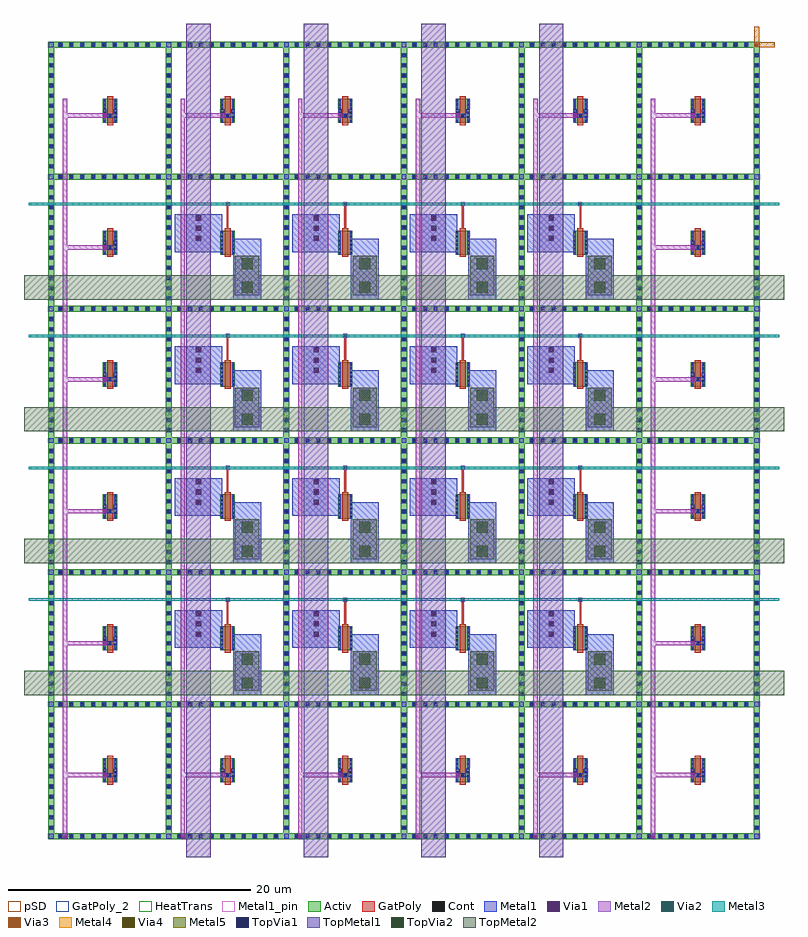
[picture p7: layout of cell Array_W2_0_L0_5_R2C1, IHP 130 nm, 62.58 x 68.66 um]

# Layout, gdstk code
import gdstk
lib = gdstk.Library(unit=1e-6, precision=1e-09)
def R(c, l, rs):  # rectangles x0, y0, x1, y1
    for r in rs: c.add(gdstk.rectangle(r[:2], r[2:], *l))
def A(c, l, x, y, w, h, nx, ny, dx, dy):  # array of equal rectangles
    R(c, l, [(x+i*dx, y+j*dy, x+i*dx+w, y+j*dy+h) for i in range(nx) for j in range(ny)])
Activ = (1, 0)
GatPoly = (5, 0)
GatPoly_2 = (5, 2)
Cont = (6, 0)
Metal1 = (8, 0)
Metal1_pin = (8, 2)
Metal2 = (10, 0)
pSD = (14, 0)
Via1 = (19, 0)
Via2 = (29, 0)
Metal3 = (30, 0)
Via3 = (49, 0)
Metal4 = (50, 0)
HeatTrans = (51, 0)
Via4 = (66, 0)
Metal5 = (67, 0)
TopVia1 = (125, 0)
TopMetal1 = (126, 0)
TopVia2 = (133, 0)
TopMetal2 = (134, 0)

array_w2_0_l0_5_r2c1 = lib.new_cell('Array_W2_0_L0_5_R2C1')
A(array_w2_0_l0_5_r2c1, Activ, 0, 0, 0.5, 65.66, 7, 1, 9.68, 0)
A(array_w2_0_l0_5_r2c1, Activ, 0, 0, 58.58, 0.5, 1, 7, 0, 10.86)
A(array_w2_0_l0_5_r2c1, Activ, 4.5, 4.68, 0.3, 0.3, 1, 6, 0, 10.86)
A(array_w2_0_l0_5_r2c1, Activ, 4.5, 4.68, 1.18, 2, 6, 6, 9.68, 10.86)
A(array_w2_0_l0_5_r2c1, Activ, 5.38, 4.68, 0.3, 0.3, 1, 6, 0, 10.86)
A(array_w2_0_l0_5_r2c1, Activ, 14.18, 4.68, 0.3, 0.3, 1, 6, 0, 10.86)
A(array_w2_0_l0_5_r2c1, Activ, 15.06, 4.68, 0.3, 0.3, 1, 6, 0, 10.86)
A(array_w2_0_l0_5_r2c1, Activ, 23.86, 4.68, 0.3, 0.3, 1, 6, 0, 10.86)
A(array_w2_0_l0_5_r2c1, Activ, 24.74, 4.68, 0.3, 0.3, 1, 6, 0, 10.86)
A(array_w2_0_l0_5_r2c1, Activ, 33.54, 4.68, 0.3, 0.3, 1, 6, 0, 10.86)
A(array_w2_0_l0_5_r2c1, Activ, 34.42, 4.68, 0.3, 0.3, 1, 6, 0, 10.86)
A(array_w2_0_l0_5_r2c1, Activ, 43.22, 4.68, 0.3, 0.3, 1, 6, 0, 10.86)
A(array_w2_0_l0_5_r2c1, Activ, 44.1, 4.68, 0.3, 0.3, 1, 6, 0, 10.86)
A(array_w2_0_l0_5_r2c1, Activ, 52.9, 4.68, 0.3, 0.3, 1, 6, 0, 10.86)
A(array_w2_0_l0_5_r2c1, Activ, 53.78, 4.68, 0.3, 0.3, 1, 6, 0, 10.86)
A(array_w2_0_l0_5_r2c1, GatPoly, 4.84, 4.5, 0.5, 2.36, 6, 6, 9.68, 10.86)
A(array_w2_0_l0_5_r2c1, GatPoly, 5.025, 5.28, 0.13, 0.2, 6, 2, 9.68, 54.3)
A(array_w2_0_l0_5_r2c1, GatPoly, 5.025, 16.14, 0.13, 0.2, 1, 4, 0, 10.86)
A(array_w2_0_l0_5_r2c1, GatPoly, 53.425, 16.14, 0.13, 0.2, 1, 4, 0, 10.86)
A(array_w2_0_l0_5_r2c1, GatPoly, 14.705, 17.72, 0.13, 2, 4, 4, 9.68, 10.86)
A(array_w2_0_l0_5_r2c1, GatPoly_2, 4.84, 4.5, 0.5, 2.36, 6, 6, 9.68, 10.86)
A(array_w2_0_l0_5_r2c1, Cont, 0.896, 0.14, 0.22, 0.22, 10, 7, 0.896, 10.86)
A(array_w2_0_l0_5_r2c1, Cont, 10.68, 0.14, 0.22, 0.22, 3, 7, 0.884, 10.86)
A(array_w2_0_l0_5_r2c1, Cont, 13.333, 0.14, 0.22, 0.22, 1, 7, 0, 10.86)
A(array_w2_0_l0_5_r2c1, Cont, 14.217, 0.14, 0.22, 0.22, 1, 7, 0, 10.86)
A(array_w2_0_l0_5_r2c1, Cont, 15.102, 0.14, 0.22, 0.22, 1, 7, 0, 10.86)
A(array_w2_0_l0_5_r2c1, Cont, 15.986, 0.14, 0.22, 0.22, 1, 7, 0, 10.86)
A(array_w2_0_l0_5_r2c1, Cont, 16.871, 0.14, 0.22, 0.22, 1, 7, 0, 10.86)
A(array_w2_0_l0_5_r2c1, Cont, 17.755, 0.14, 0.22, 0.22, 1, 7, 0, 10.86)
A(array_w2_0_l0_5_r2c1, Cont, 18.64, 0.14, 0.22, 0.22, 1, 7, 0, 10.86)
A(array_w2_0_l0_5_r2c1, Cont, 20.36, 0.14, 0.22, 0.22, 3, 7, 0.884, 10.86)
A(array_w2_0_l0_5_r2c1, Cont, 23.013, 0.14, 0.22, 0.22, 1, 7, 0, 10.86)
A(array_w2_0_l0_5_r2c1, Cont, 23.897, 0.14, 0.22, 0.22, 1, 7, 0, 10.86)
A(array_w2_0_l0_5_r2c1, Cont, 24.782, 0.14, 0.22, 0.22, 1, 7, 0, 10.86)
A(array_w2_0_l0_5_r2c1, Cont, 25.666, 0.14, 0.22, 0.22, 1, 7, 0, 10.86)
A(array_w2_0_l0_5_r2c1, Cont, 26.551, 0.14, 0.22, 0.22, 1, 7, 0, 10.86)
A(array_w2_0_l0_5_r2c1, Cont, 27.435, 0.14, 0.22, 0.22, 1, 7, 0, 10.86)
A(array_w2_0_l0_5_r2c1, Cont, 28.32, 0.14, 0.22, 0.22, 1, 7, 0, 10.86)
A(array_w2_0_l0_5_r2c1, Cont, 30.04, 0.14, 0.22, 0.22, 3, 7, 0.884, 10.86)
A(array_w2_0_l0_5_r2c1, Cont, 32.693, 0.14, 0.22, 0.22, 1, 7, 0, 10.86)
A(array_w2_0_l0_5_r2c1, Cont, 33.577, 0.14, 0.22, 0.22, 1, 7, 0, 10.86)
A(array_w2_0_l0_5_r2c1, Cont, 34.462, 0.14, 0.22, 0.22, 1, 7, 0, 10.86)
A(array_w2_0_l0_5_r2c1, Cont, 35.346, 0.14, 0.22, 0.22, 1, 7, 0, 10.86)
A(array_w2_0_l0_5_r2c1, Cont, 36.231, 0.14, 0.22, 0.22, 1, 7, 0, 10.86)
A(array_w2_0_l0_5_r2c1, Cont, 37.115, 0.14, 0.22, 0.22, 1, 7, 0, 10.86)
A(array_w2_0_l0_5_r2c1, Cont, 38, 0.14, 0.22, 0.22, 1, 7, 0, 10.86)
A(array_w2_0_l0_5_r2c1, Cont, 39.72, 0.14, 0.22, 0.22, 3, 7, 0.884, 10.86)
A(array_w2_0_l0_5_r2c1, Cont, 42.373, 0.14, 0.22, 0.22, 1, 7, 0, 10.86)
A(array_w2_0_l0_5_r2c1, Cont, 43.257, 0.14, 0.22, 0.22, 1, 7, 0, 10.86)
A(array_w2_0_l0_5_r2c1, Cont, 44.142, 0.14, 0.22, 0.22, 1, 7, 0, 10.86)
A(array_w2_0_l0_5_r2c1, Cont, 45.026, 0.14, 0.22, 0.22, 1, 7, 0, 10.86)
A(array_w2_0_l0_5_r2c1, Cont, 45.911, 0.14, 0.22, 0.22, 1, 7, 0, 10.86)
A(array_w2_0_l0_5_r2c1, Cont, 46.795, 0.14, 0.22, 0.22, 1, 7, 0, 10.86)
A(array_w2_0_l0_5_r2c1, Cont, 47.68, 0.14, 0.22, 0.22, 1, 7, 0, 10.86)
A(array_w2_0_l0_5_r2c1, Cont, 49.4, 0.14, 0.22, 0.22, 3, 7, 0.884, 10.86)
A(array_w2_0_l0_5_r2c1, Cont, 52.053, 0.14, 0.22, 0.22, 1, 7, 0, 10.86)
A(array_w2_0_l0_5_r2c1, Cont, 52.937, 0.14, 0.22, 0.22, 1, 7, 0, 10.86)
A(array_w2_0_l0_5_r2c1, Cont, 53.822, 0.14, 0.22, 0.22, 1, 7, 0, 10.86)
A(array_w2_0_l0_5_r2c1, Cont, 54.706, 0.14, 0.22, 0.22, 1, 7, 0, 10.86)
A(array_w2_0_l0_5_r2c1, Cont, 55.591, 0.14, 0.22, 0.22, 1, 7, 0, 10.86)
A(array_w2_0_l0_5_r2c1, Cont, 56.475, 0.14, 0.22, 0.22, 1, 7, 0, 10.86)
A(array_w2_0_l0_5_r2c1, Cont, 57.36, 0.14, 0.22, 0.22, 1, 7, 0, 10.86)
A(array_w2_0_l0_5_r2c1, Cont, 0.14, 0.845, 0.22, 0.22, 7, 12, 9.68, 0.845)
A(array_w2_0_l0_5_r2c1, Cont, 4.57, 4.75, 0.16, 0.16, 1, 6, 0, 0.34)
A(array_w2_0_l0_5_r2c1, Cont, 5.45, 4.75, 0.16, 0.16, 1, 6, 0, 0.34)
A(array_w2_0_l0_5_r2c1, Cont, 14.25, 4.75, 0.16, 0.16, 1, 6, 0, 0.34)
A(array_w2_0_l0_5_r2c1, Cont, 15.13, 4.75, 0.16, 0.16, 1, 6, 0, 0.34)
A(array_w2_0_l0_5_r2c1, Cont, 23.93, 4.75, 0.16, 0.16, 1, 6, 0, 0.34)
A(array_w2_0_l0_5_r2c1, Cont, 24.81, 4.75, 0.16, 0.16, 1, 6, 0, 0.34)
A(array_w2_0_l0_5_r2c1, Cont, 33.61, 4.75, 0.16, 0.16, 1, 6, 0, 0.34)
A(array_w2_0_l0_5_r2c1, Cont, 34.49, 4.75, 0.16, 0.16, 1, 6, 0, 0.34)
A(array_w2_0_l0_5_r2c1, Cont, 43.29, 4.75, 0.16, 0.16, 1, 6, 0, 0.34)
A(array_w2_0_l0_5_r2c1, Cont, 44.17, 4.75, 0.16, 0.16, 1, 6, 0, 0.34)
A(array_w2_0_l0_5_r2c1, Cont, 52.97, 4.75, 0.16, 0.16, 1, 6, 0, 0.34)
A(array_w2_0_l0_5_r2c1, Cont, 53.85, 4.75, 0.16, 0.16, 1, 6, 0, 0.34)
A(array_w2_0_l0_5_r2c1, Cont, 4.98, 5.17, 0.22, 0.22, 6, 2, 9.68, 54.3)
A(array_w2_0_l0_5_r2c1, Cont, 0.14, 11.86, 0.22, 0.22, 7, 2, 9.68, 0.83)
A(array_w2_0_l0_5_r2c1, Cont, 0.14, 13.521, 0.22, 0.22, 7, 10, 9.68, 0.831)
A(array_w2_0_l0_5_r2c1, Cont, 4.57, 15.61, 0.16, 0.16, 1, 6, 0, 0.34)
A(array_w2_0_l0_5_r2c1, Cont, 5.45, 15.61, 0.16, 0.16, 1, 6, 0, 0.34)
A(array_w2_0_l0_5_r2c1, Cont, 14.25, 15.61, 0.16, 0.16, 1, 6, 0, 0.34)
A(array_w2_0_l0_5_r2c1, Cont, 15.13, 15.61, 0.16, 0.16, 1, 6, 0, 0.34)
A(array_w2_0_l0_5_r2c1, Cont, 23.93, 15.61, 0.16, 0.16, 1, 6, 0, 0.34)
A(array_w2_0_l0_5_r2c1, Cont, 24.81, 15.61, 0.16, 0.16, 1, 6, 0, 0.34)
A(array_w2_0_l0_5_r2c1, Cont, 33.61, 15.61, 0.16, 0.16, 1, 6, 0, 0.34)
A(array_w2_0_l0_5_r2c1, Cont, 34.49, 15.61, 0.16, 0.16, 1, 6, 0, 0.34)
A(array_w2_0_l0_5_r2c1, Cont, 43.29, 15.61, 0.16, 0.16, 1, 6, 0, 0.34)
A(array_w2_0_l0_5_r2c1, Cont, 44.17, 15.61, 0.16, 0.16, 1, 6, 0, 0.34)
A(array_w2_0_l0_5_r2c1, Cont, 52.97, 15.61, 0.16, 0.16, 1, 6, 0, 0.34)
A(array_w2_0_l0_5_r2c1, Cont, 53.85, 15.61, 0.16, 0.16, 1, 6, 0, 0.34)
A(array_w2_0_l0_5_r2c1, Cont, 4.98, 16.03, 0.22, 0.22, 1, 4, 0, 10.86)
A(array_w2_0_l0_5_r2c1, Cont, 53.38, 16.03, 0.22, 0.22, 1, 4, 0, 10.86)
A(array_w2_0_l0_5_r2c1, Cont, 14.66, 19.61, 0.22, 0.22, 4, 4, 9.68, 10.86)
A(array_w2_0_l0_5_r2c1, Cont, 0.14, 22.72, 0.22, 0.22, 7, 2, 9.68, 0.83)
A(array_w2_0_l0_5_r2c1, Cont, 0.14, 24.381, 0.22, 0.22, 7, 10, 9.68, 0.831)
A(array_w2_0_l0_5_r2c1, Cont, 4.57, 26.47, 0.16, 0.16, 1, 6, 0, 0.34)
A(array_w2_0_l0_5_r2c1, Cont, 5.45, 26.47, 0.16, 0.16, 1, 6, 0, 0.34)
A(array_w2_0_l0_5_r2c1, Cont, 14.25, 26.47, 0.16, 0.16, 1, 6, 0, 0.34)
A(array_w2_0_l0_5_r2c1, Cont, 15.13, 26.47, 0.16, 0.16, 1, 6, 0, 0.34)
A(array_w2_0_l0_5_r2c1, Cont, 23.93, 26.47, 0.16, 0.16, 1, 6, 0, 0.34)
A(array_w2_0_l0_5_r2c1, Cont, 24.81, 26.47, 0.16, 0.16, 1, 6, 0, 0.34)
A(array_w2_0_l0_5_r2c1, Cont, 33.61, 26.47, 0.16, 0.16, 1, 6, 0, 0.34)
A(array_w2_0_l0_5_r2c1, Cont, 34.49, 26.47, 0.16, 0.16, 1, 6, 0, 0.34)
A(array_w2_0_l0_5_r2c1, Cont, 43.29, 26.47, 0.16, 0.16, 1, 6, 0, 0.34)
A(array_w2_0_l0_5_r2c1, Cont, 44.17, 26.47, 0.16, 0.16, 1, 6, 0, 0.34)
A(array_w2_0_l0_5_r2c1, Cont, 52.97, 26.47, 0.16, 0.16, 1, 6, 0, 0.34)
A(array_w2_0_l0_5_r2c1, Cont, 53.85, 26.47, 0.16, 0.16, 1, 6, 0, 0.34)
A(array_w2_0_l0_5_r2c1, Cont, 0.14, 33.58, 0.22, 0.22, 7, 2, 9.68, 0.83)
A(array_w2_0_l0_5_r2c1, Cont, 0.14, 35.241, 0.22, 0.22, 7, 10, 9.68, 0.831)
A(array_w2_0_l0_5_r2c1, Cont, 4.57, 37.33, 0.16, 0.16, 1, 6, 0, 0.34)
A(array_w2_0_l0_5_r2c1, Cont, 5.45, 37.33, 0.16, 0.16, 1, 6, 0, 0.34)
A(array_w2_0_l0_5_r2c1, Cont, 14.25, 37.33, 0.16, 0.16, 1, 6, 0, 0.34)
A(array_w2_0_l0_5_r2c1, Cont, 15.13, 37.33, 0.16, 0.16, 1, 6, 0, 0.34)
A(array_w2_0_l0_5_r2c1, Cont, 23.93, 37.33, 0.16, 0.16, 1, 6, 0, 0.34)
A(array_w2_0_l0_5_r2c1, Cont, 24.81, 37.33, 0.16, 0.16, 1, 6, 0, 0.34)
A(array_w2_0_l0_5_r2c1, Cont, 33.61, 37.33, 0.16, 0.16, 1, 6, 0, 0.34)
A(array_w2_0_l0_5_r2c1, Cont, 34.49, 37.33, 0.16, 0.16, 1, 6, 0, 0.34)
A(array_w2_0_l0_5_r2c1, Cont, 43.29, 37.33, 0.16, 0.16, 1, 6, 0, 0.34)
A(array_w2_0_l0_5_r2c1, Cont, 44.17, 37.33, 0.16, 0.16, 1, 6, 0, 0.34)
A(array_w2_0_l0_5_r2c1, Cont, 52.97, 37.33, 0.16, 0.16, 1, 6, 0, 0.34)
A(array_w2_0_l0_5_r2c1, Cont, 53.85, 37.33, 0.16, 0.16, 1, 6, 0, 0.34)
A(array_w2_0_l0_5_r2c1, Cont, 0.14, 44.44, 0.22, 0.22, 7, 2, 9.68, 0.83)
A(array_w2_0_l0_5_r2c1, Cont, 0.14, 46.101, 0.22, 0.22, 7, 10, 9.68, 0.831)
A(array_w2_0_l0_5_r2c1, Cont, 4.57, 48.19, 0.16, 0.16, 1, 6, 0, 0.34)
A(array_w2_0_l0_5_r2c1, Cont, 5.45, 48.19, 0.16, 0.16, 1, 6, 0, 0.34)
A(array_w2_0_l0_5_r2c1, Cont, 14.25, 48.19, 0.16, 0.16, 1, 6, 0, 0.34)
A(array_w2_0_l0_5_r2c1, Cont, 15.13, 48.19, 0.16, 0.16, 1, 6, 0, 0.34)
A(array_w2_0_l0_5_r2c1, Cont, 23.93, 48.19, 0.16, 0.16, 1, 6, 0, 0.34)
A(array_w2_0_l0_5_r2c1, Cont, 24.81, 48.19, 0.16, 0.16, 1, 6, 0, 0.34)
A(array_w2_0_l0_5_r2c1, Cont, 33.61, 48.19, 0.16, 0.16, 1, 6, 0, 0.34)
A(array_w2_0_l0_5_r2c1, Cont, 34.49, 48.19, 0.16, 0.16, 1, 6, 0, 0.34)
A(array_w2_0_l0_5_r2c1, Cont, 43.29, 48.19, 0.16, 0.16, 1, 6, 0, 0.34)
A(array_w2_0_l0_5_r2c1, Cont, 44.17, 48.19, 0.16, 0.16, 1, 6, 0, 0.34)
A(array_w2_0_l0_5_r2c1, Cont, 52.97, 48.19, 0.16, 0.16, 1, 6, 0, 0.34)
A(array_w2_0_l0_5_r2c1, Cont, 53.85, 48.19, 0.16, 0.16, 1, 6, 0, 0.34)
A(array_w2_0_l0_5_r2c1, Cont, 0.14, 55.3, 0.22, 0.22, 7, 2, 9.68, 0.83)
A(array_w2_0_l0_5_r2c1, Cont, 0.14, 56.961, 0.22, 0.22, 7, 10, 9.68, 0.831)
A(array_w2_0_l0_5_r2c1, Cont, 4.57, 59.05, 0.16, 0.16, 1, 6, 0, 0.34)
A(array_w2_0_l0_5_r2c1, Cont, 5.45, 59.05, 0.16, 0.16, 1, 6, 0, 0.34)
A(array_w2_0_l0_5_r2c1, Cont, 14.25, 59.05, 0.16, 0.16, 1, 6, 0, 0.34)
A(array_w2_0_l0_5_r2c1, Cont, 15.13, 59.05, 0.16, 0.16, 1, 6, 0, 0.34)
A(array_w2_0_l0_5_r2c1, Cont, 23.93, 59.05, 0.16, 0.16, 1, 6, 0, 0.34)
A(array_w2_0_l0_5_r2c1, Cont, 24.81, 59.05, 0.16, 0.16, 1, 6, 0, 0.34)
A(array_w2_0_l0_5_r2c1, Cont, 33.61, 59.05, 0.16, 0.16, 1, 6, 0, 0.34)
A(array_w2_0_l0_5_r2c1, Cont, 34.49, 59.05, 0.16, 0.16, 1, 6, 0, 0.34)
A(array_w2_0_l0_5_r2c1, Cont, 43.29, 59.05, 0.16, 0.16, 1, 6, 0, 0.34)
A(array_w2_0_l0_5_r2c1, Cont, 44.17, 59.05, 0.16, 0.16, 1, 6, 0, 0.34)
A(array_w2_0_l0_5_r2c1, Cont, 52.97, 59.05, 0.16, 0.16, 1, 6, 0, 0.34)
A(array_w2_0_l0_5_r2c1, Cont, 53.85, 59.05, 0.16, 0.16, 1, 6, 0, 0.34)
A(array_w2_0_l0_5_r2c1, Metal1, 0.836, 0.08, 0.34, 0.34, 10, 7, 0.896, 10.86)
A(array_w2_0_l0_5_r2c1, Metal1, 10.62, 0.08, 0.34, 0.34, 3, 7, 0.884, 10.86)
A(array_w2_0_l0_5_r2c1, Metal1, 13.273, 0.08, 0.34, 0.34, 1, 7, 0, 10.86)
A(array_w2_0_l0_5_r2c1, Metal1, 14.157, 0.08, 0.34, 0.34, 1, 7, 0, 10.86)
A(array_w2_0_l0_5_r2c1, Metal1, 15.042, 0.08, 0.34, 0.34, 1, 7, 0, 10.86)
A(array_w2_0_l0_5_r2c1, Metal1, 15.926, 0.08, 0.34, 0.34, 1, 7, 0, 10.86)
A(array_w2_0_l0_5_r2c1, Metal1, 16.811, 0.08, 0.34, 0.34, 1, 7, 0, 10.86)
A(array_w2_0_l0_5_r2c1, Metal1, 17.695, 0.08, 0.34, 0.34, 1, 7, 0, 10.86)
A(array_w2_0_l0_5_r2c1, Metal1, 18.58, 0.08, 0.34, 0.34, 1, 7, 0, 10.86)
A(array_w2_0_l0_5_r2c1, Metal1, 20.3, 0.08, 0.34, 0.34, 3, 7, 0.884, 10.86)
A(array_w2_0_l0_5_r2c1, Metal1, 22.953, 0.08, 0.34, 0.34, 1, 7, 0, 10.86)
A(array_w2_0_l0_5_r2c1, Metal1, 23.837, 0.08, 0.34, 0.34, 1, 7, 0, 10.86)
A(array_w2_0_l0_5_r2c1, Metal1, 24.722, 0.08, 0.34, 0.34, 1, 7, 0, 10.86)
A(array_w2_0_l0_5_r2c1, Metal1, 25.606, 0.08, 0.34, 0.34, 1, 7, 0, 10.86)
A(array_w2_0_l0_5_r2c1, Metal1, 26.491, 0.08, 0.34, 0.34, 1, 7, 0, 10.86)
A(array_w2_0_l0_5_r2c1, Metal1, 27.375, 0.08, 0.34, 0.34, 1, 7, 0, 10.86)
A(array_w2_0_l0_5_r2c1, Metal1, 28.26, 0.08, 0.34, 0.34, 1, 7, 0, 10.86)
A(array_w2_0_l0_5_r2c1, Metal1, 29.98, 0.08, 0.34, 0.34, 3, 7, 0.884, 10.86)
A(array_w2_0_l0_5_r2c1, Metal1, 32.633, 0.08, 0.34, 0.34, 1, 7, 0, 10.86)
A(array_w2_0_l0_5_r2c1, Metal1, 33.517, 0.08, 0.34, 0.34, 1, 7, 0, 10.86)
A(array_w2_0_l0_5_r2c1, Metal1, 34.402, 0.08, 0.34, 0.34, 1, 7, 0, 10.86)
A(array_w2_0_l0_5_r2c1, Metal1, 35.286, 0.08, 0.34, 0.34, 1, 7, 0, 10.86)
A(array_w2_0_l0_5_r2c1, Metal1, 36.171, 0.08, 0.34, 0.34, 1, 7, 0, 10.86)
A(array_w2_0_l0_5_r2c1, Metal1, 37.055, 0.08, 0.34, 0.34, 1, 7, 0, 10.86)
A(array_w2_0_l0_5_r2c1, Metal1, 37.94, 0.08, 0.34, 0.34, 1, 7, 0, 10.86)
A(array_w2_0_l0_5_r2c1, Metal1, 39.66, 0.08, 0.34, 0.34, 3, 7, 0.884, 10.86)
A(array_w2_0_l0_5_r2c1, Metal1, 42.313, 0.08, 0.34, 0.34, 1, 7, 0, 10.86)
A(array_w2_0_l0_5_r2c1, Metal1, 43.197, 0.08, 0.34, 0.34, 1, 7, 0, 10.86)
A(array_w2_0_l0_5_r2c1, Metal1, 44.082, 0.08, 0.34, 0.34, 1, 7, 0, 10.86)
A(array_w2_0_l0_5_r2c1, Metal1, 44.966, 0.08, 0.34, 0.34, 1, 7, 0, 10.86)
A(array_w2_0_l0_5_r2c1, Metal1, 45.851, 0.08, 0.34, 0.34, 1, 7, 0, 10.86)
A(array_w2_0_l0_5_r2c1, Metal1, 46.735, 0.08, 0.34, 0.34, 1, 7, 0, 10.86)
A(array_w2_0_l0_5_r2c1, Metal1, 47.62, 0.08, 0.34, 0.34, 1, 7, 0, 10.86)
A(array_w2_0_l0_5_r2c1, Metal1, 49.34, 0.08, 0.34, 0.34, 3, 7, 0.884, 10.86)
A(array_w2_0_l0_5_r2c1, Metal1, 51.993, 0.08, 0.34, 0.34, 1, 7, 0, 10.86)
A(array_w2_0_l0_5_r2c1, Metal1, 52.877, 0.08, 0.34, 0.34, 1, 7, 0, 10.86)
A(array_w2_0_l0_5_r2c1, Metal1, 53.762, 0.08, 0.34, 0.34, 1, 7, 0, 10.86)
A(array_w2_0_l0_5_r2c1, Metal1, 54.646, 0.08, 0.34, 0.34, 1, 7, 0, 10.86)
A(array_w2_0_l0_5_r2c1, Metal1, 55.531, 0.08, 0.34, 0.34, 1, 7, 0, 10.86)
A(array_w2_0_l0_5_r2c1, Metal1, 56.415, 0.08, 0.34, 0.34, 1, 7, 0, 10.86)
A(array_w2_0_l0_5_r2c1, Metal1, 57.3, 0.08, 0.34, 0.34, 1, 7, 0, 10.86)
A(array_w2_0_l0_5_r2c1, Metal1, 0.08, 0.785, 0.34, 0.34, 7, 12, 9.68, 0.845)
A(array_w2_0_l0_5_r2c1, Metal1, 4.57, 4.68, 0.16, 2, 1, 6, 0, 10.86)
A(array_w2_0_l0_5_r2c1, Metal1, 5.45, 4.68, 0.16, 2, 1, 6, 0, 10.86)
A(array_w2_0_l0_5_r2c1, Metal1, 14.25, 4.68, 0.16, 2, 1, 6, 0, 10.86)
A(array_w2_0_l0_5_r2c1, Metal1, 15.13, 4.68, 0.16, 2, 1, 6, 0, 10.86)
A(array_w2_0_l0_5_r2c1, Metal1, 23.93, 4.68, 0.16, 2, 1, 6, 0, 10.86)
A(array_w2_0_l0_5_r2c1, Metal1, 24.81, 4.68, 0.16, 2, 1, 6, 0, 10.86)
A(array_w2_0_l0_5_r2c1, Metal1, 33.61, 4.68, 0.16, 2, 1, 6, 0, 10.86)
A(array_w2_0_l0_5_r2c1, Metal1, 34.49, 4.68, 0.16, 2, 1, 6, 0, 10.86)
A(array_w2_0_l0_5_r2c1, Metal1, 43.29, 4.68, 0.16, 2, 1, 6, 0, 10.86)
A(array_w2_0_l0_5_r2c1, Metal1, 44.17, 4.68, 0.16, 2, 1, 6, 0, 10.86)
A(array_w2_0_l0_5_r2c1, Metal1, 52.97, 4.68, 0.16, 2, 1, 6, 0, 10.86)
A(array_w2_0_l0_5_r2c1, Metal1, 53.85, 4.68, 0.16, 2, 1, 6, 0, 10.86)
A(array_w2_0_l0_5_r2c1, Metal1, 4.92, 5.11, 0.34, 0.34, 6, 2, 9.68, 54.3)
A(array_w2_0_l0_5_r2c1, Metal1, 4.51, 5.14, 0.28, 0.68, 1, 6, 0, 10.86)
A(array_w2_0_l0_5_r2c1, Metal1, 4.51, 5.14, 1.16, 0.28, 6, 2, 9.68, 54.3)
A(array_w2_0_l0_5_r2c1, Metal1, 5.39, 5.14, 0.28, 0.68, 1, 6, 0, 10.86)
A(array_w2_0_l0_5_r2c1, Metal1, 52.91, 5.14, 0.28, 0.68, 1, 6, 0, 10.86)
A(array_w2_0_l0_5_r2c1, Metal1, 53.79, 5.14, 0.28, 0.68, 1, 6, 0, 10.86)
A(array_w2_0_l0_5_r2c1, Metal1, 0.05, 10.91, 0.4, 0.4, 7, 6, 9.68, 10.86)
A(array_w2_0_l0_5_r2c1, Metal1, 0.08, 11.8, 0.34, 0.34, 7, 2, 9.68, 0.83)
A(array_w2_0_l0_5_r2c1, Metal1, 15.21, 11.86, 2.32, 5.02, 4, 4, 9.68, 10.86)
A(array_w2_0_l0_5_r2c1, Metal1, 0.08, 13.461, 0.34, 0.34, 7, 10, 9.68, 0.831)
A(array_w2_0_l0_5_r2c1, Metal1, 10.41, 15.76, 3.92, 3.11, 4, 4, 9.68, 10.86)
A(array_w2_0_l0_5_r2c1, Metal1, 4.92, 15.97, 0.34, 0.34, 1, 4, 0, 10.86)
A(array_w2_0_l0_5_r2c1, Metal1, 53.32, 15.97, 0.34, 0.34, 1, 4, 0, 10.86)
A(array_w2_0_l0_5_r2c1, Metal1, 4.51, 16, 1.16, 0.28, 1, 4, 0, 10.86)
A(array_w2_0_l0_5_r2c1, Metal1, 52.91, 16, 1.16, 0.28, 1, 4, 0, 10.86)
A(array_w2_0_l0_5_r2c1, Metal1, 14.61, 19.56, 0.32, 0.32, 4, 4, 9.68, 10.86)
A(array_w2_0_l0_5_r2c1, Metal1, 0.08, 22.66, 0.34, 0.34, 7, 2, 9.68, 0.83)
A(array_w2_0_l0_5_r2c1, Metal1, 0.08, 24.321, 0.34, 0.34, 7, 10, 9.68, 0.831)
A(array_w2_0_l0_5_r2c1, Metal1, 0.08, 33.52, 0.34, 0.34, 7, 2, 9.68, 0.83)
A(array_w2_0_l0_5_r2c1, Metal1, 0.08, 35.181, 0.34, 0.34, 7, 10, 9.68, 0.831)
A(array_w2_0_l0_5_r2c1, Metal1, 0.08, 44.38, 0.34, 0.34, 7, 2, 9.68, 0.83)
A(array_w2_0_l0_5_r2c1, Metal1, 0.08, 46.041, 0.34, 0.34, 7, 10, 9.68, 0.831)
A(array_w2_0_l0_5_r2c1, Metal1, 0.08, 55.24, 0.34, 0.34, 7, 2, 9.68, 0.83)
A(array_w2_0_l0_5_r2c1, Metal1, 0.08, 56.901, 0.34, 0.34, 7, 10, 9.68, 0.831)
R(array_w2_0_l0_5_r2c1, Metal1, [(0.05,0.05,0.45,0.45), (1.19,0.05,1.59,0.45), (9.73,0.05,10.13,0.45), (10.87,0.05,11.27,0.45), (19.41,0.05,19.81,0.45), (20.55,0.05,20.95,0.45), (29.09,0.05,29.49,0.45), (30.23,0.05,30.63,0.45), (38.77,0.05,39.17,0.45), (39.91,0.05,40.31,0.45), (48.45,0.05,48.85,0.45), (49.59,0.05,49.99,0.45), (58.13,0.05,58.53,0.45), (14.19,5.14,14.47,5.82), (15.07,5.14,15.35,5.82), (23.87,5.14,24.15,5.82), (24.75,5.14,25.03,5.82), (33.55,5.14,33.83,5.82), (34.43,5.14,34.71,5.82), (43.23,5.14,43.51,5.82), (44.11,5.14,44.39,5.82), (14.19,59.44,14.47,60.12), (15.07,59.44,15.35,60.12), (23.87,59.44,24.15,60.12), (24.75,59.44,25.03,60.12), (33.55,59.44,33.83,60.12), (34.43,59.44,34.71,60.12), (43.23,59.44,43.51,60.12), (44.11,59.44,44.39,60.12)])
A(array_w2_0_l0_5_r2c1, Metal1_pin, 4.57, 4.68, 0.16, 2, 1, 6, 0, 10.86)
A(array_w2_0_l0_5_r2c1, Metal1_pin, 5.45, 4.68, 0.16, 2, 1, 6, 0, 10.86)
A(array_w2_0_l0_5_r2c1, Metal1_pin, 14.25, 4.68, 0.16, 2, 1, 6, 0, 10.86)
A(array_w2_0_l0_5_r2c1, Metal1_pin, 15.13, 4.68, 0.16, 2, 1, 6, 0, 10.86)
A(array_w2_0_l0_5_r2c1, Metal1_pin, 23.93, 4.68, 0.16, 2, 1, 6, 0, 10.86)
A(array_w2_0_l0_5_r2c1, Metal1_pin, 24.81, 4.68, 0.16, 2, 1, 6, 0, 10.86)
A(array_w2_0_l0_5_r2c1, Metal1_pin, 33.61, 4.68, 0.16, 2, 1, 6, 0, 10.86)
A(array_w2_0_l0_5_r2c1, Metal1_pin, 34.49, 4.68, 0.16, 2, 1, 6, 0, 10.86)
A(array_w2_0_l0_5_r2c1, Metal1_pin, 43.29, 4.68, 0.16, 2, 1, 6, 0, 10.86)
A(array_w2_0_l0_5_r2c1, Metal1_pin, 44.17, 4.68, 0.16, 2, 1, 6, 0, 10.86)
A(array_w2_0_l0_5_r2c1, Metal1_pin, 52.97, 4.68, 0.16, 2, 1, 6, 0, 10.86)
A(array_w2_0_l0_5_r2c1, Metal1_pin, 53.85, 4.68, 0.16, 2, 1, 6, 0, 10.86)
A(array_w2_0_l0_5_r2c1, Metal2, 1.21, 0.07, 0.36, 60.91, 6, 1, 9.68, 0)
A(array_w2_0_l0_5_r2c1, Metal2, 1.21, 5.1, 3.62, 0.36, 6, 2, 9.68, 54.3)
A(array_w2_0_l0_5_r2c1, Metal2, 16.215, 12.705, 0.31, 0.31, 4, 2, 9.68, 1.96)
A(array_w2_0_l0_5_r2c1, Metal2, 1.21, 15.96, 3.62, 0.36, 1, 4, 0, 10.86)
A(array_w2_0_l0_5_r2c1, Metal2, 49.61, 15.96, 3.62, 0.36, 1, 4, 0, 10.86)
A(array_w2_0_l0_5_r2c1, Metal2, 12.215, 16.735, 0.31, 0.31, 4, 3, 9.68, 0.84)
A(array_w2_0_l0_5_r2c1, Metal2, 14.625, 19.575, 0.29, 0.29, 4, 4, 9.68, 10.86)
A(array_w2_0_l0_5_r2c1, Metal2, 16.215, 23.565, 0.31, 0.31, 4, 2, 9.68, 1.96)
A(array_w2_0_l0_5_r2c1, Metal2, 12.215, 27.595, 0.31, 0.31, 4, 3, 9.68, 0.84)
A(array_w2_0_l0_5_r2c1, Metal2, 16.215, 34.425, 0.31, 0.31, 4, 2, 9.68, 1.96)
A(array_w2_0_l0_5_r2c1, Metal2, 12.215, 38.455, 0.31, 0.31, 4, 3, 9.68, 0.84)
A(array_w2_0_l0_5_r2c1, Metal2, 16.215, 45.285, 0.31, 0.31, 4, 2, 9.68, 1.96)
A(array_w2_0_l0_5_r2c1, Metal2, 12.215, 49.315, 0.31, 0.31, 4, 3, 9.68, 0.84)
R(array_w2_0_l0_5_r2c1, Metal2, [(58.15,65.23,58.51,65.59)])
A(array_w2_0_l0_5_r2c1, pSD, 0, 0, 0.5, 65.66, 7, 1, 9.68, 0)
A(array_w2_0_l0_5_r2c1, pSD, 0, 0, 58.58, 0.5, 1, 7, 0, 10.86)
A(array_w2_0_l0_5_r2c1, Via1, 1.295, 0.155, 0.19, 0.19, 6, 1, 9.68, 0)
A(array_w2_0_l0_5_r2c1, Via1, 4.555, 5.185, 0.19, 0.19, 6, 2, 9.68, 54.3)
A(array_w2_0_l0_5_r2c1, Via1, 16.275, 12.765, 0.19, 0.19, 4, 2, 9.68, 1.96)
A(array_w2_0_l0_5_r2c1, Via1, 4.555, 16.045, 0.19, 0.19, 1, 4, 0, 10.86)
A(array_w2_0_l0_5_r2c1, Via1, 52.955, 16.045, 0.19, 0.19, 1, 4, 0, 10.86)
A(array_w2_0_l0_5_r2c1, Via1, 12.275, 16.795, 0.19, 0.19, 4, 3, 9.68, 0.84)
A(array_w2_0_l0_5_r2c1, Via1, 14.675, 19.625, 0.19, 0.19, 4, 4, 9.68, 10.86)
A(array_w2_0_l0_5_r2c1, Via1, 16.275, 23.625, 0.19, 0.19, 4, 2, 9.68, 1.96)
A(array_w2_0_l0_5_r2c1, Via1, 12.275, 27.655, 0.19, 0.19, 4, 3, 9.68, 0.84)
A(array_w2_0_l0_5_r2c1, Via1, 16.275, 34.485, 0.19, 0.19, 4, 2, 9.68, 1.96)
A(array_w2_0_l0_5_r2c1, Via1, 12.275, 38.515, 0.19, 0.19, 4, 3, 9.68, 0.84)
A(array_w2_0_l0_5_r2c1, Via1, 16.275, 45.345, 0.19, 0.19, 4, 2, 9.68, 1.96)
A(array_w2_0_l0_5_r2c1, Via1, 12.275, 49.375, 0.19, 0.19, 4, 3, 9.68, 0.84)
R(array_w2_0_l0_5_r2c1, Via1, [(58.235,65.315,58.425,65.505)])
A(array_w2_0_l0_5_r2c1, Via2, 16.275, 12.765, 0.19, 0.19, 4, 2, 9.68, 1.96)
A(array_w2_0_l0_5_r2c1, Via2, 12.275, 16.795, 0.19, 0.19, 4, 3, 9.68, 0.84)
A(array_w2_0_l0_5_r2c1, Via2, 14.675, 19.625, 0.19, 0.19, 4, 4, 9.68, 10.86)
A(array_w2_0_l0_5_r2c1, Via2, 16.275, 23.625, 0.19, 0.19, 4, 2, 9.68, 1.96)
A(array_w2_0_l0_5_r2c1, Via2, 12.275, 27.655, 0.19, 0.19, 4, 3, 9.68, 0.84)
A(array_w2_0_l0_5_r2c1, Via2, 16.275, 34.485, 0.19, 0.19, 4, 2, 9.68, 1.96)
A(array_w2_0_l0_5_r2c1, Via2, 12.275, 38.515, 0.19, 0.19, 4, 3, 9.68, 0.84)
A(array_w2_0_l0_5_r2c1, Via2, 16.275, 45.345, 0.19, 0.19, 4, 2, 9.68, 1.96)
A(array_w2_0_l0_5_r2c1, Via2, 12.275, 49.375, 0.19, 0.19, 4, 3, 9.68, 0.84)
R(array_w2_0_l0_5_r2c1, Via2, [(58.235,65.315,58.425,65.505)])
A(array_w2_0_l0_5_r2c1, Metal3, 16.215, 12.705, 0.31, 0.31, 4, 2, 9.68, 1.96)
A(array_w2_0_l0_5_r2c1, Metal3, 12.215, 16.735, 0.31, 0.31, 4, 3, 9.68, 0.84)
A(array_w2_0_l0_5_r2c1, Metal3, -1.6, 19.62, 61.78, 0.2, 1, 4, 0, 10.86)
A(array_w2_0_l0_5_r2c1, Metal3, 14.67, 19.62, 0.2, 0.2, 4, 4, 9.68, 10.86)
A(array_w2_0_l0_5_r2c1, Metal3, 16.215, 23.565, 0.31, 0.31, 4, 2, 9.68, 1.96)
A(array_w2_0_l0_5_r2c1, Metal3, 12.215, 27.595, 0.31, 0.31, 4, 3, 9.68, 0.84)
A(array_w2_0_l0_5_r2c1, Metal3, 16.215, 34.425, 0.31, 0.31, 4, 2, 9.68, 1.96)
A(array_w2_0_l0_5_r2c1, Metal3, 12.215, 38.455, 0.31, 0.31, 4, 3, 9.68, 0.84)
A(array_w2_0_l0_5_r2c1, Metal3, 16.215, 45.285, 0.31, 0.31, 4, 2, 9.68, 1.96)
A(array_w2_0_l0_5_r2c1, Metal3, 12.215, 49.315, 0.31, 0.31, 4, 3, 9.68, 0.84)
R(array_w2_0_l0_5_r2c1, Metal3, [(58.23,65.31,58.43,65.51)])
A(array_w2_0_l0_5_r2c1, Via3, 16.275, 12.765, 0.19, 0.19, 4, 2, 9.68, 1.96)
A(array_w2_0_l0_5_r2c1, Via3, 12.275, 16.795, 0.19, 0.19, 4, 3, 9.68, 0.84)
A(array_w2_0_l0_5_r2c1, Via3, 16.275, 23.625, 0.19, 0.19, 4, 2, 9.68, 1.96)
A(array_w2_0_l0_5_r2c1, Via3, 12.275, 27.655, 0.19, 0.19, 4, 3, 9.68, 0.84)
A(array_w2_0_l0_5_r2c1, Via3, 16.275, 34.485, 0.19, 0.19, 4, 2, 9.68, 1.96)
A(array_w2_0_l0_5_r2c1, Via3, 12.275, 38.515, 0.19, 0.19, 4, 3, 9.68, 0.84)
A(array_w2_0_l0_5_r2c1, Via3, 16.275, 45.345, 0.19, 0.19, 4, 2, 9.68, 1.96)
A(array_w2_0_l0_5_r2c1, Via3, 12.275, 49.375, 0.19, 0.19, 4, 3, 9.68, 0.84)
R(array_w2_0_l0_5_r2c1, Via3, [(58.235,65.315,58.425,65.505)])
A(array_w2_0_l0_5_r2c1, Metal4, 16.215, 12.705, 0.31, 0.31, 4, 2, 9.68, 1.96)
A(array_w2_0_l0_5_r2c1, Metal4, 12.215, 16.735, 0.31, 0.31, 4, 3, 9.68, 0.84)
A(array_w2_0_l0_5_r2c1, Metal4, 16.215, 23.565, 0.31, 0.31, 4, 2, 9.68, 1.96)
A(array_w2_0_l0_5_r2c1, Metal4, 12.215, 27.595, 0.31, 0.31, 4, 3, 9.68, 0.84)
A(array_w2_0_l0_5_r2c1, Metal4, 16.215, 34.425, 0.31, 0.31, 4, 2, 9.68, 1.96)
A(array_w2_0_l0_5_r2c1, Metal4, 12.215, 38.455, 0.31, 0.31, 4, 3, 9.68, 0.84)
A(array_w2_0_l0_5_r2c1, Metal4, 16.215, 45.285, 0.31, 0.31, 4, 2, 9.68, 1.96)
A(array_w2_0_l0_5_r2c1, Metal4, 12.215, 49.315, 0.31, 0.31, 4, 3, 9.68, 0.84)
R(array_w2_0_l0_5_r2c1, Metal4, [(58.13,65.21,59.83,65.61), (58.13,65.21,58.53,66.91)])
A(array_w2_0_l0_5_r2c1, HeatTrans, 4.84, 4.5, 0.5, 2.36, 6, 6, 9.68, 10.86)
A(array_w2_0_l0_5_r2c1, Via4, 16.275, 12.765, 0.19, 0.19, 4, 2, 9.68, 1.96)
A(array_w2_0_l0_5_r2c1, Via4, 12.275, 16.795, 0.19, 0.19, 4, 3, 9.68, 0.84)
A(array_w2_0_l0_5_r2c1, Via4, 16.275, 23.625, 0.19, 0.19, 4, 2, 9.68, 1.96)
A(array_w2_0_l0_5_r2c1, Via4, 12.275, 27.655, 0.19, 0.19, 4, 3, 9.68, 0.84)
A(array_w2_0_l0_5_r2c1, Via4, 16.275, 34.485, 0.19, 0.19, 4, 2, 9.68, 1.96)
A(array_w2_0_l0_5_r2c1, Via4, 12.275, 38.515, 0.19, 0.19, 4, 3, 9.68, 0.84)
A(array_w2_0_l0_5_r2c1, Via4, 16.275, 45.345, 0.19, 0.19, 4, 2, 9.68, 1.96)
A(array_w2_0_l0_5_r2c1, Via4, 12.275, 49.375, 0.19, 0.19, 4, 3, 9.68, 0.84)
A(array_w2_0_l0_5_r2c1, Metal5, 16.215, 12.705, 0.31, 0.31, 4, 2, 9.68, 1.96)
A(array_w2_0_l0_5_r2c1, Metal5, 12.215, 16.735, 0.31, 0.31, 4, 3, 9.68, 0.84)
A(array_w2_0_l0_5_r2c1, Metal5, 16.215, 23.565, 0.31, 0.31, 4, 2, 9.68, 1.96)
A(array_w2_0_l0_5_r2c1, Metal5, 12.215, 27.595, 0.31, 0.31, 4, 3, 9.68, 0.84)
A(array_w2_0_l0_5_r2c1, Metal5, 16.215, 34.425, 0.31, 0.31, 4, 2, 9.68, 1.96)
A(array_w2_0_l0_5_r2c1, Metal5, 12.215, 38.455, 0.31, 0.31, 4, 3, 9.68, 0.84)
A(array_w2_0_l0_5_r2c1, Metal5, 16.215, 45.285, 0.31, 0.31, 4, 2, 9.68, 1.96)
A(array_w2_0_l0_5_r2c1, Metal5, 12.215, 49.315, 0.31, 0.31, 4, 3, 9.68, 0.84)
A(array_w2_0_l0_5_r2c1, TopVia1, 16.16, 12.65, 0.42, 0.42, 4, 2, 9.68, 1.96)
A(array_w2_0_l0_5_r2c1, TopVia1, 12.16, 16.68, 0.42, 0.42, 4, 3, 9.68, 0.84)
A(array_w2_0_l0_5_r2c1, TopVia1, 16.16, 23.51, 0.42, 0.42, 4, 2, 9.68, 1.96)
A(array_w2_0_l0_5_r2c1, TopVia1, 12.16, 27.54, 0.42, 0.42, 4, 3, 9.68, 0.84)
A(array_w2_0_l0_5_r2c1, TopVia1, 16.16, 34.37, 0.42, 0.42, 4, 2, 9.68, 1.96)
A(array_w2_0_l0_5_r2c1, TopVia1, 12.16, 38.4, 0.42, 0.42, 4, 3, 9.68, 0.84)
A(array_w2_0_l0_5_r2c1, TopVia1, 16.16, 45.23, 0.42, 0.42, 4, 2, 9.68, 1.96)
A(array_w2_0_l0_5_r2c1, TopVia1, 12.16, 49.26, 0.42, 0.42, 4, 3, 9.68, 0.84)
A(array_w2_0_l0_5_r2c1, TopMetal1, 11.37, -1.5, 2, 68.66, 4, 1, 9.68, 0)
A(array_w2_0_l0_5_r2c1, TopMetal1, 15.37, 12.21, 2, 3.26, 4, 4, 9.68, 10.86)
A(array_w2_0_l0_5_r2c1, TopMetal1, 11.37, 16.58, 2, 2.3, 4, 4, 9.68, 10.86)
A(array_w2_0_l0_5_r2c1, TopVia2, 15.92, 12.41, 0.9, 0.9, 4, 2, 9.68, 1.96)
A(array_w2_0_l0_5_r2c1, TopVia2, 15.92, 23.27, 0.9, 0.9, 4, 2, 9.68, 1.96)
A(array_w2_0_l0_5_r2c1, TopVia2, 15.92, 34.13, 0.9, 0.9, 4, 2, 9.68, 1.96)
A(array_w2_0_l0_5_r2c1, TopVia2, 15.92, 44.99, 0.9, 0.9, 4, 2, 9.68, 1.96)
A(array_w2_0_l0_5_r2c1, TopMetal2, -2, 11.86, 62.58, 2, 1, 4, 0, 10.86)
A(array_w2_0_l0_5_r2c1, TopMetal2, 15.37, 12.21, 2, 3.26, 4, 4, 9.68, 10.86)

lib.write_gds('Array_W2_0_L0_5_R2C1.gds')
